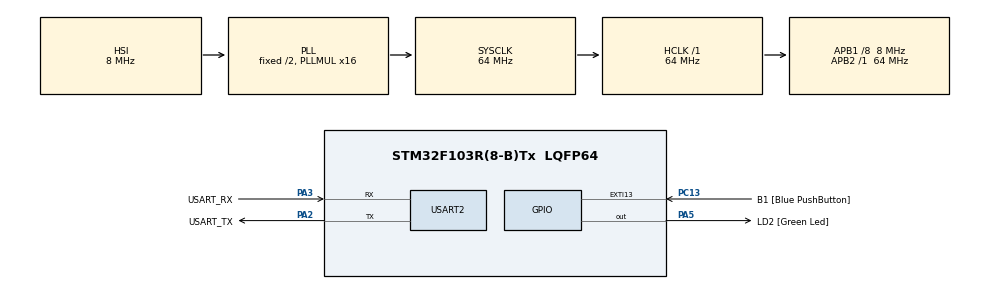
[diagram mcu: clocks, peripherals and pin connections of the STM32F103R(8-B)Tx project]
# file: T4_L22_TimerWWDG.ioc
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Mcu.Family=STM32F1
Mcu.Name=STM32F103R(8-B)Tx
Mcu.Package=LQFP64
NVIC.EXTI15_10_IRQn=true\:0\:0\:false\:false\:true\:true\:true
NVIC.PriorityGroup=NVIC_PRIORITYGROUP_4
NVIC.WWDG_IRQn=true\:0\:0\:false\:true\:true\:1\:true\:true
PA13.GPIO_Label=TMS
PA13.Mode=Serial_Wire
PA13.Signal=SYS_JTMS-SWDIO
PA14.GPIO_Label=TCK
PA14.Mode=Serial_Wire
PA14.Signal=SYS_JTCK-SWCLK
PA2.GPIO_Label=USART_TX
PA2.GPIO_Mode=GPIO_MODE_AF_PP
PA2.GPIO_PuPd=GPIO_NOPULL
PA2.GPIO_Speed=GPIO_SPEED_FREQ_LOW
PA2.Mode=Asynchronous
PA2.Signal=USART2_TX
PA3.GPIO_Label=USART_RX
PA3.GPIO_Mode=GPIO_MODE_AF_PP
PA3.GPIO_PuPd=GPIO_NOPULL
PA3.GPIO_Speed=GPIO_SPEED_FREQ_LOW
PA3.Mode=Asynchronous
PA3.Signal=USART2_RX
PA5.GPIO_Label=LD2 [Green Led]
PA5.GPIO_ModeDefaultOutputPP=GPIO_MODE_OUTPUT_PP
PA5.GPIO_PuPd=GPIO_NOPULL
PA5.GPIO_Speed=GPIO_SPEED_FREQ_LOW
PA5.Signal=GPIO_Output
PB3.GPIO_Label=SWO
PB3.Signal=SYS_JTDO-TRACESWO
PC13-TAMPER-RTC.GPIO_Label=B1 [Blue PushButton]
PC13-TAMPER-RTC.GPIO_PuPd=GPIO_NOPULL
PC13-TAMPER-RTC.Signal=GPXTI13
PC14-OSC32_IN.Mode=LSE-External-Oscillator
PC14-OSC32_IN.Signal=RCC_OSC32_IN
PC15-OSC32_OUT.Mode=LSE-External-Oscillator
PC15-OSC32_OUT.Signal=RCC_OSC32_OUT
PD0-OSC_IN.Mode=HSE-External-Clock-Source
PD0-OSC_IN.Signal=RCC_OSC_IN
PD1-OSC_OUT.Mode=HSE-External-Clock-Source
PD1-OSC_OUT.Signal=RCC_OSC_OUT
ProjectManager.HeapSize=0x200
ProjectManager.StackSize=0x400
ProjectManager.TargetToolchain=STM32CubeIDE
RCC.AHBFreq_Value=64000000
RCC.APB1CLKDivider=RCC_HCLK_DIV8
RCC.APB1Freq_Value=8000000
RCC.APB1TimFreq_Value=16000000
RCC.APB2Freq_Value=64000000
RCC.APB2TimFreq_Value=64000000
RCC.HCLKFreq_Value=64000000
RCC.PLLMUL=RCC_PLL_MUL16
RCC.RTCClockSelection=RCC_RTCCLKSOURCE_LSE
RCC.SYSCLKFreq_VALUE=64000000
RCC.SYSCLKSource=RCC_SYSCLKSOURCE_PLLCLK
RCC.USBFreq_Value=64000000
USART2.VirtualMode=VM_ASYNC
VP_WWDG_VS_WWDG.Mode=WWDG_Activate
WWDG.Counter=127
WWDG.EWIMode=WWDG_EWI_ENABLE
WWDG.Prescaler=WWDG_PRESCALER_8
WWDG.Window=80
board=NUCLEO-F103RB

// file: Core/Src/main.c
/* USER CODE BEGIN Header */
/**
  ******************************************************************************
  * @file           : main.c
  * @brief          : Main program body
  ******************************************************************************
  * @attention
  *
  * <h2><center>&copy; Copyright (c) 2022 STMicroelectronics.
  * All rights reserved.</center></h2>
  *
  * This software component is licensed by ST under BSD 3-Clause license,
  * the "License"; You may not use this file except in compliance with the
  * License. You may obtain a copy of the License at:
  *                        opensource.org/licenses/BSD-3-Clause
  *
  ******************************************************************************
  */
/* USER CODE END Header */
#include "main.h"
#include "usart.h"
#include "wwdg.h"
#include "gpio.h"

/* USER CODE BEGIN Includes */
#include "string.h"
#include "stdio.h"
/* USER CODE END Includes */

void SystemClock_Config(void);
static void MX_NVIC_Init(void);
/* USER CODE BEGIN PFP */
void SendUart(UART_HandleTypeDef *huart, uint8_t *Message);
/* USER CODE END PFP */

int main(void)
{

  /* MCU Configuration--------------------------------------------------------*/

  /* Reset of all peripherals, Initializes the Flash interface and the Systick. */
  HAL_Init();

  /* Configure the system clock */
  SystemClock_Config();

  /* Initialize all configured peripherals */
  MX_GPIO_Init();
  MX_USART2_UART_Init();
  MX_WWDG_Init();

  /* Initialize interrupts */
  MX_NVIC_Init();
  /* USER CODE BEGIN 2 */
  if(__HAL_RCC_GET_FLAG(RCC_FLAG_WWDGRST) != RESET)
  {
	  SendUart(&huart2, (uint8_t*)"!!! WWDG RESET !!!!\n\r");
	  __HAL_RCC_CLEAR_RESET_FLAGS();
  }
  else
  {
	  SendUart(&huart2, (uint8_t*)"!!! Normal reset !!!!\n\r");
  }
  /* USER CODE END 2 */

  /* Infinite loop */
  /* USER CODE BEGIN WHILE */
  while (1)
  {
	  HAL_Delay(200);
	  if(HAL_WWDG_Refresh(&hwwdg) != HAL_OK)
	  {
		  Error_Handler();
	  }
	  if(!HAL_GPIO_ReadPin(B1_GPIO_Port,B1_Pin))
	  {
		  while(!HAL_GPIO_ReadPin(B1_GPIO_Port,B1_Pin))
		{
			//do nothing
		}
	  }

    /* USER CODE END WHILE */

  }
}

void SystemClock_Config(void)
{
  RCC_OscInitTypeDef RCC_OscInitStruct = {0};
  RCC_ClkInitTypeDef RCC_ClkInitStruct = {0};

  /** Initializes the RCC Oscillators according to the specified parameters
  * in the RCC_OscInitTypeDef structure.
  */
  RCC_OscInitStruct.OscillatorType = RCC_OSCILLATORTYPE_HSI;
  RCC_OscInitStruct.HSIState = RCC_HSI_ON;
  RCC_OscInitStruct.HSICalibrationValue = RCC_HSICALIBRATION_DEFAULT;
  RCC_OscInitStruct.PLL.PLLState = RCC_PLL_ON;
  RCC_OscInitStruct.PLL.PLLSource = RCC_PLLSOURCE_HSI_DIV2;
  RCC_OscInitStruct.PLL.PLLMUL = RCC_PLL_MUL16;
  if (HAL_RCC_OscConfig(&RCC_OscInitStruct) != HAL_OK)
  {
    Error_Handler();
  }
  /** Initializes the CPU, AHB and APB buses clocks
  */
  RCC_ClkInitStruct.ClockType = RCC_CLOCKTYPE_HCLK|RCC_CLOCKTYPE_SYSCLK
                              |RCC_CLOCKTYPE_PCLK1|RCC_CLOCKTYPE_PCLK2;
  RCC_ClkInitStruct.SYSCLKSource = RCC_SYSCLKSOURCE_PLLCLK;
  RCC_ClkInitStruct.AHBCLKDivider = RCC_SYSCLK_DIV1;
  RCC_ClkInitStruct.APB1CLKDivider = RCC_HCLK_DIV8;
  RCC_ClkInitStruct.APB2CLKDivider = RCC_HCLK_DIV1;

  if (HAL_RCC_ClockConfig(&RCC_ClkInitStruct, FLASH_LATENCY_2) != HAL_OK)
  {
    Error_Handler();
  }
}

/**
  * @brief NVIC Configuration.
  * @retval None
  */
static void MX_NVIC_Init(void)
{
  /* WWDG_IRQn interrupt configuration */
  HAL_NVIC_SetPriority(WWDG_IRQn, 0, 0);
  HAL_NVIC_EnableIRQ(WWDG_IRQn);
}

/* USER CODE BEGIN 4 */
void SendUart(UART_HandleTypeDef *huart, uint8_t *Message)
{
	HAL_UART_Transmit(huart,Message,strlen((const char*)Message),1000);
}
void HAL_WWDG_EarlyWakeupCallback(WWDG_HandleTypeDef *hwwdg)
{
	SendUart(&huart2, (uint8_t*)"!!! EWI WWDG !!!\n\r");
}
/* USER CODE END 4 */

void Error_Handler(void)
{
  __disable_irq();
  while (1)
  {
  }
}

/************************ (C) COPYRIGHT STMicroelectronics *****END OF FILE****/
